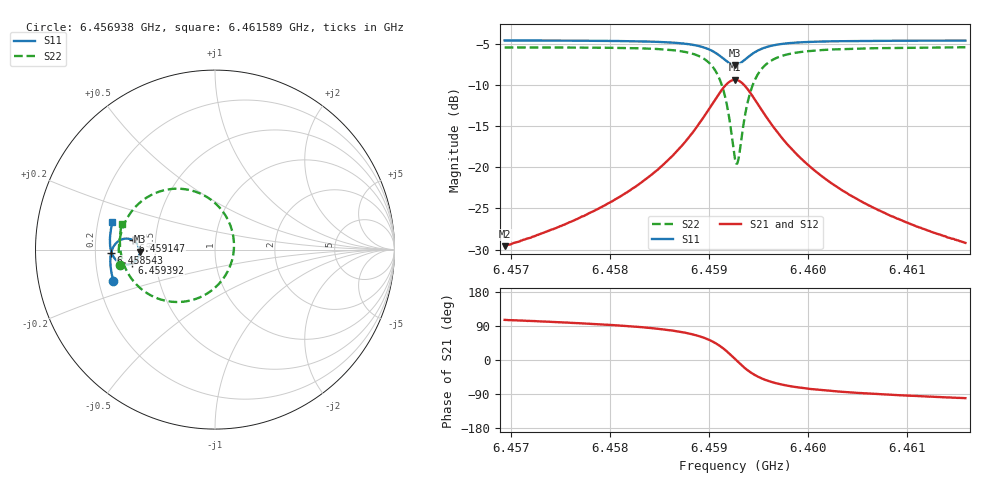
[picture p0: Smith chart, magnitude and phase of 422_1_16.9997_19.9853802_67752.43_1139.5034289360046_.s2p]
#  HZ  S  RI  R  50.00
! Rohde & Schwarz Vector Network Analyzer
! Rohde-Schwarz,ZNB20-2Port,1311601062101988,3.16
! Created: UTC 3/20/2024, 11:10:59 PM
! freq[Hz]  re:S11  im:S11  re:S21  im:S21  re:S12  im:S12  re:S22  im:S22
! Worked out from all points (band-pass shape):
!   401 points, 6.456938 GHz to 6.461589 GHz, reference 50 ohm
!   highest |S21| = -9.34 dB at 6.459264 GHz (marker M1); lowest = -29.6 dB at 6.456938 GHz (marker M2)
!   |S21| within 3 dB of the highest: 6.459031 GHz to 6.459496 GHz (464.8 kHz wide, 0.0072 % of centre)
!   lowest |S11| = -7.5 dB at 6.459264 GHz (marker M3), VSWR 2.45, Z = 20.4 - j0.539 ohm
!   |S11| at or under -10 dB: nowhere
!   |S22| runs from -19.5 to -5.4 dB; largest |S21 - S12| = 0.013
!   S11 on the Smith chart (normalised r, x): 6.456938 GHz: 0.26, -0.14; 6.458543 GHz: 0.27, -0.01; 6.459147 GHz: 0.37, +0.05; 6.459392 GHz: 0.37, -0.07; 6.461589 GHz: 0.26, +0.12
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6.4569385e9  -0.5658 -0.1752  -0.00907 0.0319  -0.0074 0.032  -0.5298 -0.0881
6.4577174e9  -0.5803 -0.1073  -0.00582 0.0499  -0.00329 0.0491  -0.5359 0.00198
6.4581127e9  -0.5833 -0.0682  -0.000647 0.0669  0.00243 0.0657  -0.5297 0.063
6.4584964e9  -0.5798 -0.0231  0.0136 0.0975  0.0175 0.0949  -0.5038 0.1468
6.4585429e9  -0.5783 -0.0167  0.0168 0.103  0.0208 0.0999  -0.4975 0.1598
6.4587522e9  -0.5664 0.015  0.0426 0.1344  0.0467 0.1297  -0.4496 0.2311
6.4589033e9  -0.5455 0.0414  0.0847 0.1645  0.088 0.1581  -0.3719 0.2951
6.4590545e9  -0.4997 0.0611  0.1755 0.1836  0.1765 0.1762  -0.2063 0.3393
6.4591475e9  -0.4556 0.0511  0.2645 0.1531  0.2646 0.1472  -0.0414 0.2908
6.459194e9  -0.4347 0.0327  0.3078 0.1109  0.3089 0.1057  0.0406 0.2158
6.4592637e9  -0.42 -0.0109  0.341 0.0153  0.3444 0.0084  0.1054 0.0387
6.459287e9  -0.4218 -0.0267  0.339 -0.0196  0.3427 -0.0278  0.1019 -0.0272
6.4592986e9  -0.424 -0.0343  0.3355 -0.0366  0.3392 -0.0454  0.095 -0.0594
6.4593451e9  -0.4393 -0.06  0.3075 -0.0959  0.3097 -0.1075  0.0386 -0.1711
6.4593916e9  -0.461 -0.076  0.2661 -0.1366  0.2652 -0.1495  -0.0448 -0.2456
6.4594846e9  -0.5039 -0.0828  0.1824 -0.1677  0.1764 -0.179  -0.211 -0.2919
6.4596358e9  -0.5473 -0.0623  0.0956 -0.1543  0.0872 -0.1605  -0.3768 -0.244
6.4598102e9  -0.5695 -0.0328  0.049 -0.1251  0.0417 -0.1278  -0.4603 -0.1685
6.4600427e9  -0.5812 0.000891  0.0223 -0.0958  0.0166 -0.0966  -0.5043 -0.0915
6.4603915e9  -0.5856 0.0419  0.00628 -0.0696  0.00242 -0.069  -0.5259 -0.0131
6.4608217e9  -0.5836 0.085  -0.00134 -0.0512  -0.00415 -0.0503  -0.5302 0.0549
6.461589e9  -0.5712 0.1527  -0.00643 -0.0341  -0.00807 -0.0332  -0.5187 0.1446
